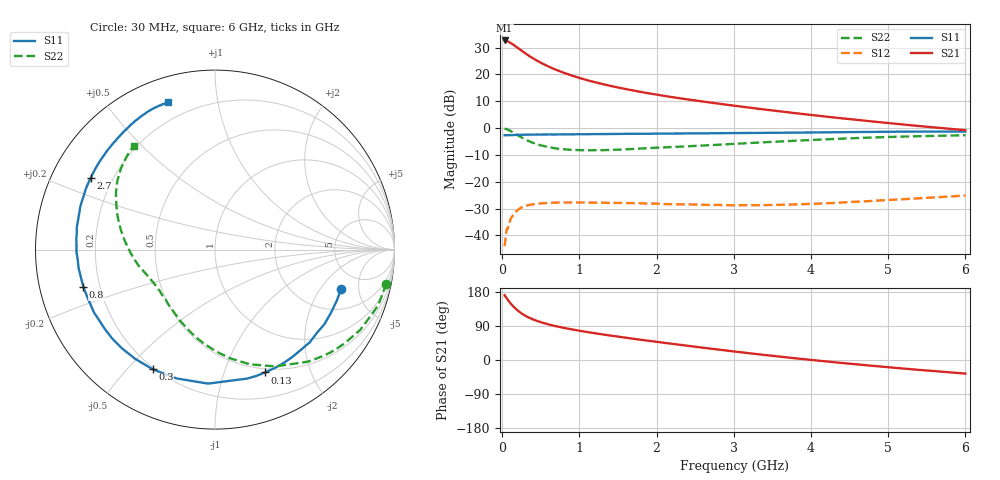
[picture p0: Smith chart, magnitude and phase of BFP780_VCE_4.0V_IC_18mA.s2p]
! Infineon Technologies  Discrete & RF Semiconductors
! BFP780
! VCE =  4.0 V,  IC =  18 mA
! Common Emitter S-Parameters:  Jul 2015
# GHz  S  MA  R  50
!  f  S11  S21  S12  S22
! GHz  MAG  ANG  MAG  ANG  MAG  ANG  MAG  ANG
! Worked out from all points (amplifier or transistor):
!   75 points, 30 MHz to 6 GHz, reference 50 ohm
!   highest |S21| = 32.6 dB at 30 MHz (marker M1)
!   |S21| within 3 dB of that: start of sweep to 211.3 MHz
!   unconditionally stable (mu >= 1): 2.391 GHz to end of sweep
!   at 150 MHz: K = 0.09, MSG = 31.4 dB, |S12| = -31.9 dB
!   at 2.3 GHz: K = 0.97, MSG = 19.8 dB, |S12| = -28.4 dB
!   at 6 GHz: K = 1.33, MAG = 8.7 dB, |S12| = -25.1 dB
!   S11 on the Smith chart (normalised r, x): 30 MHz: 3.36, -3.22; 130 MHz: 0.46, -1.38; 300 MHz: 0.19, -0.59; 800 MHz: 0.14, -0.14; 2.7 GHz: 0.12, +0.26; 6 GHz: 0.11, +0.72
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0.03  0.7363 -17.3  42.83 170.9  0.0063 77.9  0.9732 -11.2
0.06  0.7378 -34.2  41.7 162.1  0.0133 69.9  0.9464 -22.2
0.08  0.7386 -44.4  40.41 156.5  0.0157 71.1  0.9247 -28.9
0.1  0.7373 -54.2  39.02 151.4  0.0186 60.2  0.8927 -35.5
0.13  0.7389 -67.9  36.75 144.2  0.0223 56.6  0.8431 -44.8
0.15  0.7406 -76.0  35.11 139.9  0.0255 51.1  0.8119 -50.2
0.2  0.7477 -93.0  31.15 130.6  0.0296 43.6  0.7332 -62.6
0.25  0.749 -106.6  27.66 122.9  0.0333 37.2  0.6679 -73.1
0.3  0.7517 -117.5  24.58 116.6  0.0355 32.5  0.6108 -82.2
0.35  0.7538 -126.3  21.98 111.4  0.0369 28.8  0.5649 -89.8
0.4  0.756 -133.5  19.84 106.9  0.0379 25.2  0.5284 -96.5
0.5  0.7564 -144.4  16.45 99.7  0.0395 20.3  0.475 -107.5
0.6  0.7597 -152.6  13.97 93.8  0.0403 16.5  0.4405 -116.4
0.8  0.7625 -164.2  10.66 84.7  0.0411 11.5  0.4024 -129.7
1.1  0.7669 -175.9  7.792 73.8  0.0409 7.0  0.3844 -143.6
1.5  0.7756 173.3  5.691 61.7  0.0402 4.0  0.3952 -155.8
2.1  0.7886 160.7  3.971 45.3  0.0384 1.7  0.436 -168.5
2.7  0.7986 150.0  2.978 30.0  0.0368 2.8  0.4802 179.8
3.1  0.8078 143.3  2.505 20.3  0.0365 5.3  0.516 172.1
4.1  0.8295 128.3  1.693 -1.8  0.0391 12.5  0.6077 154.9
5.1  0.8544 116.3  1.2 -20.9  0.0465 15.2  0.6863 140.3
6  0.861 107.7  0.912 -35.9  0.0554 13.3  0.735 127.9
